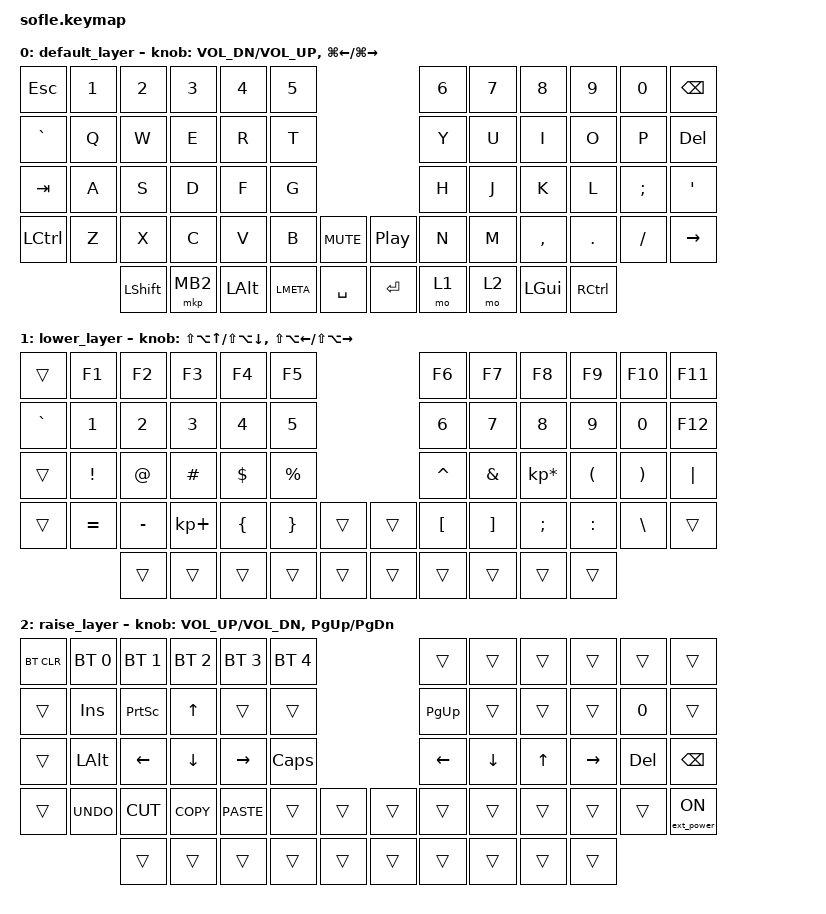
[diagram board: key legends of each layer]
/*
 * Copyright (c) 2020 The ZMK Contributors
 *
 * SPDX-License-Identifier: MIT
 */

#include <dt-bindings/zmk/mouse.h>
#include <behaviors.dtsi>
#include <dt-bindings/zmk/bt.h>
#include <dt-bindings/zmk/ext_power.h>
#include <dt-bindings/zmk/keys.h>
#include <dt-bindings/zmk/pointing.h>

/ {
    macros {
        modmouse: modmouse {
            compatible = "zmk,behavior-macro";
            #binding-cells = <0>;
            bindings = <&kp LEFT_GUI &mkp MB2>, <&macro_press>;

            label = "MODMOUSE";
        };
    };

    keymap {
        compatible = "zmk,keymap";

        default_layer {
            // ------------------------------------------------------------------------------------------------------------
            // |  `    |  1  |  2  |  3   |  4   |  5   |                   |  6   |  7    |  8    |  9   |   0   |       |
            // |  ESC  |  Q  |  W  |  E   |  R   |  T   |                   |  Y   |  U    |  I    |  O   |   P   | BKSPC |
            // |  TAB  |  A  |  S  |  D   |  F   |  G   |                   |  H   |  J    |  K    |  L   |   ;   |   '   |
            // | SHIFT |  Z  |  X  |  C   |  V   |  B   |  MUTE  |  |       |  N   |  M    |  ,    |  .   |   /   | SHIFT |
            //               | GUI | ALT  | CTRL | LOWER|  ENTER |  | SPACE | RAISE| CTRL  | ALT   | GUI  |

            bindings = <
&kp ESCAPE        &kp N1  &kp N2          &kp N3    &kp N4        &kp N5                                     &kp NUMBER_6  &kp N7  &kp N8        &kp N9     &kp N0    &kp BACKSPACE
&kp GRAVE         &kp Q   &kp W           &kp E     &kp R         &kp T                                      &kp Y         &kp U   &kp I         &kp O      &kp P     &kp DELETE
&kp TAB           &kp A   &kp S           &kp D     &kp F         &kp G                                      &kp H         &kp J   &kp K         &kp L      &kp SEMI  &kp SQT
&kp LEFT_CONTROL  &kp Z   &kp X           &kp C     &kp V         &kp B      &kp C_MUTE    &kp C_PLAY_PAUSE  &kp N         &kp M   &kp COMMA     &kp DOT    &kp FSLH  &kp RIGHT_ARROW
                          &kp LEFT_SHIFT  &mkp MB2  &kp LEFT_ALT  &kp LMETA  &kp SPACE     &kp ENTER         &mo 1         &mo 2   &kp LEFT_GUI  &kp RCTRL
            >;

            sensor-bindings =
                <&inc_dec_kp C_VOL_DN C_VOL_UP>,
                <&inc_dec_kp LG(LEFT) LG(RIGHT)>;
        };

        lower_layer {
            // TODO: Some binds are waiting for shifted keycode support.
            // ------------------------------------------------------------------------------------------------------------
            // |       |  F1 |  F2 |  F3  |  F4  |  F5  |                   |  F6  |  F7   |  F8   |  F9  |  F10  |  F11  |
            // | `     |   1 |   2 |   3  |   4  |   5  |                   |   6  |   7   |   8   |   9  |    0  |  F12  |
            // |       |  !  |  @  |  #   |  $   |  %   |                   |  ^   |  &    |  *    |  (   |   )   |   |   |
            // |       |  =  |  -  |  +   |  {   |  }   |        |  |       |  [   |  ]    |  ;    |  :   |   \   |       |
            //               |     |      |      |      |        |  |       |      |       |       |      |

            bindings = <
&trans     &kp F1     &kp F2     &kp F3       &kp F4    &kp F5                       &kp F6     &kp F7    &kp F8           &kp F9     &kp F10   &kp F11
&kp GRAVE  &kp N1     &kp N2     &kp N3       &kp N4    &kp N5                       &kp N6     &kp N7    &kp N8           &kp N9     &kp N0    &kp F12
&trans     &kp EXCL   &kp AT     &kp HASH     &kp DLLR  &kp PRCNT                    &kp CARET  &kp AMPS  &kp KP_MULTIPLY  &kp LPAR   &kp RPAR  &kp PIPE
&trans     &kp EQUAL  &kp MINUS  &kp KP_PLUS  &kp LBRC  &kp RBRC   &trans    &trans  &kp LBKT   &kp RBKT  &kp SEMI         &kp COLON  &kp BSLH  &trans
                      &trans     &trans       &trans    &trans     &trans    &trans  &trans     &trans    &trans           &trans
            >;

            sensor-bindings =
                <&inc_dec_kp LS(LA(UP_ARROW)) LS(LA(DOWN_ARROW))>,
                <&inc_dec_kp LS(LA(LEFT)) LS(LA(RIGHT_ARROW))>;
        };

        raise_layer {
            // ------------------------------------------------------------------------------------------------------------
            // |BTCLR| BT1  | BT2  |  BT3  |  BT4  |  BT5 |                |      |      |       |      |       |       |
            // |     | INS  | PSCR | GUI   |       |      |                | PGUP |      |       |      |       |       |
            // |     | ALT  | CTRL | SHIFT |       | CAPS |                |  <-  |   v  |   ^   |  ->  |  DEL  | BKSPC |
            // |     | UNDO | CUT  | COPY  | PASTE |      |      |  |      |      |      |       |      |       |       |
            //              |      |       |       |      |      |  |      |      |      |       |      |

            bindings = <
&bt BT_CLR  &bt BT_SEL 0  &bt BT_SEL 1    &bt BT_SEL 2    &bt BT_SEL 3  &bt BT_SEL 4                    &trans     &trans    &trans  &trans     &trans   &trans
&trans      &kp INS       &kp PSCRN       &kp UP_ARROW    &trans        &trans                          &kp PG_UP  &trans    &trans  &trans     &kp N0   &trans
&trans      &kp LALT      &kp LEFT_ARROW  &kp DOWN_ARROW  &kp RIGHT     &kp CLCK                        &kp LEFT   &kp DOWN  &kp UP  &kp RIGHT  &kp DEL  &kp BSPC
&trans      &kp K_UNDO    &kp K_CUT       &kp K_COPY      &kp K_PASTE   &trans        &trans    &trans  &trans     &trans    &trans  &trans     &trans   &ext_power EP_ON
                          &trans          &trans          &trans        &trans        &trans    &trans  &trans     &trans    &trans  &trans
            >;

            sensor-bindings = <&inc_dec_kp C_VOL_UP C_VOL_DN &inc_dec_kp PG_UP PG_DN>;
        };
    };
};
